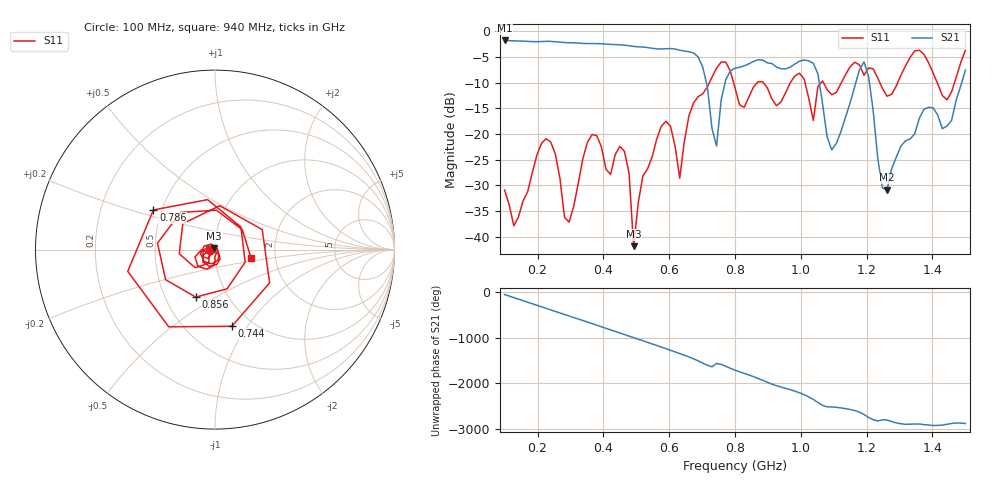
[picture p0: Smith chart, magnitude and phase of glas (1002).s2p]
! NanoVNA-App
! Date: 2025-09-25 16:03:16
! Start: 100MHz Stop: 1,5GHz Points: 101
! S-Parameter data: F S11 S21 S12 S22
# Hz S RI R 50
!  Frequency  S11_Real  S11_Imag  S21_Real  S21_Imag  S12_Real  S12_Imag  S22_Real  S22_Imag
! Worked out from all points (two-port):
!   101 points, 100 MHz to 1.5 GHz, reference 50 ohm
!   highest |S21| = -1.80 dB at 100 MHz (marker M1); lowest = -30.8 dB at 1.262 GHz (marker M2)
!   |S21| within 3 dB of the highest: start of sweep to 684.5 MHz
!   lowest |S11| = -41.8 dB at 492 MHz (marker M3), VSWR 1.02, Z = 49.5 + j0.617 ohm
!   |S11| at or under -10 dB: start of sweep to 722.4 MHz; 795.6 MHz to 867.8 MHz (72.24 MHz wide, 8.69 % of centre); 886.1 MHz to 968.3 MHz (82.2 MHz wide, 8.87 % of centre) (the widest 3 of 7)
!   S12 and S22 are empty: the file has one direction only
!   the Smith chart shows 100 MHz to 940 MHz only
!   S11 on the Smith chart (normalised r, x): 100 MHz: 0.94, -0.01; 744 MHz: 0.81, -0.85; 786 MHz: 0.45, +0.24; 856 MHz: 0.71, -0.41; 940 MHz: 1.49, -0.14
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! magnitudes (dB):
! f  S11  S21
! 100 MHz  -30.9  -1.8
! 128 MHz  -37.9  -1.9
! 226 MHz  -20.9  -2.0
! 296 MHz  -37.1  -2.2
! 338 MHz  -24.7  -2.4
! 464 MHz  -23.4  -2.7
! 492 MHz  -41.8  -3.0
! 576 MHz  -18.5  -3.5
! 632 MHz  -28.6  -3.7
! 702 MHz  -12.2  -7.0
! 744 MHz  -7.2  -22.3
! 786 MHz  -7.8  -7.7
! 800 MHz  -11.0  -7.2
! 856 MHz  -10.9  -5.9
! 940 MHz  -13.7  -7.3
! 996 MHz  -8.2  -5.8
! 1.038 GHz  -17.4  -6.3
! 1.094 GHz  -12.4  -23.1
! 1.192 GHz  -8.6  -6.0
! 1.262 GHz  -12.7  -30.8
! 1.276 GHz  -12.3  -26.8
! 1.5 GHz  -3.7  -7.6
